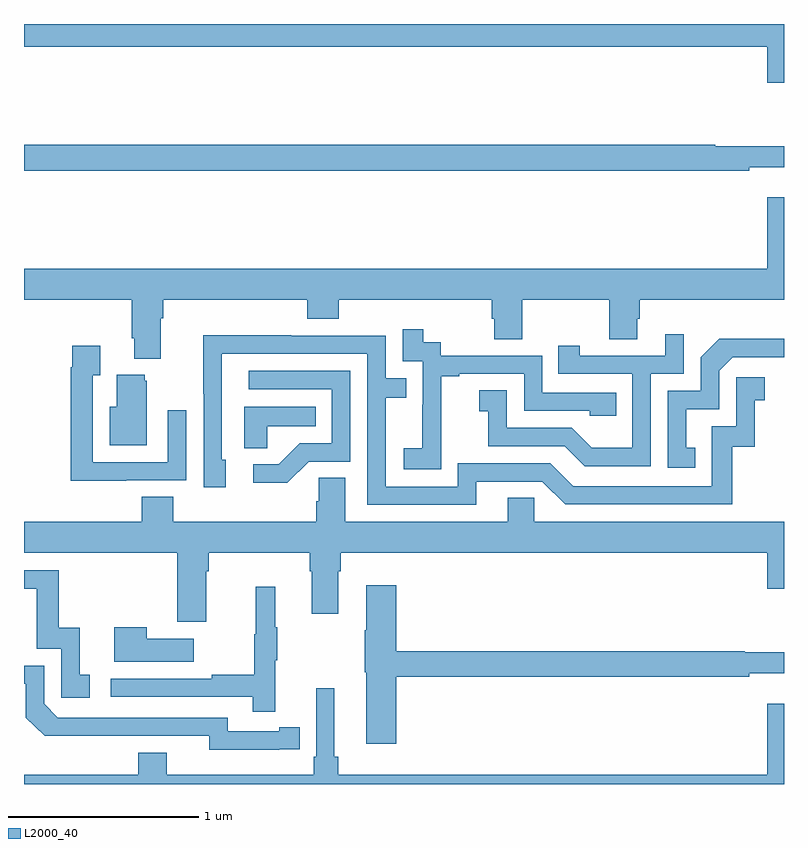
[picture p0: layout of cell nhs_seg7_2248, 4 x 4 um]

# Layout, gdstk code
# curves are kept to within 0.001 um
import gdstk
lib = gdstk.Library(unit=1e-6, precision=1e-09)
def P(c, l, *ps):  # polygons
    for p in ps: c.add(gdstk.Polygon(p, *l))
L2000_40 = (2000, 40)

nhs_seg7_2248 = lib.new_cell('nhs_seg7_2248')
P(nhs_seg7_2248, L2000_40, [(261,1070),(257,1070),(257,1069.88),(260.912,1069.88),(260.912,1069.692),(261,1069.692)],
  [(260.816,1069.247),(261,1069.247),(261,1069.357),(260.638,1069.357),(260.638,1069.364),(257,1069.364),(257,1069.228),(260.816,1069.228)],
  [(257.719,1068.452),(257.732,1068.452),(257.732,1068.548),(258.491,1068.548),(258.491,1068.449),(258.656,1068.449),(258.656,1068.548),(259.463,1068.548),(259.463,1068.45),(259.475,1068.45),(259.475,1068.34),(259.623,1068.34),(259.623,1068.548),(260.08,1068.548),(260.08,1068.34),(260.227,1068.34),(260.227,1068.45),(260.24,1068.45),(260.24,1068.548),(261,1068.548),(261,1069.087),(260.912,1069.087),(260.912,1068.712),(257,1068.712),(257,1068.548),(257.567,1068.548),(257.567,1068.346),(257.579,1068.346),(257.579,1068.239),(257.719,1068.239)],
  [(259.197,1067.863),(259.196,1067.863),(259.196,1068.147),(259.291,1068.147),(259.291,1068.159),(259.632,1068.159),(259.632,1067.964),(259.977,1067.964),(259.977,1067.937),(260.117,1067.937),(260.117,1068.06),(259.728,1068.06),(259.728,1068.255),(259.194,1068.255),(259.194,1068.324),(259.102,1068.324),(259.102,1068.394),(258.993,1068.394),(258.993,1068.225),(259.098,1068.225),(259.098,1067.996),(259.097,1067.996),(259.097,1067.767),(258.999,1067.767),(258.999,1067.657),(259.197,1067.657)],
  [(260.298,1068.159),(260.472,1068.159),(260.472,1068.367),(260.375,1068.367),(260.375,1068.255),(259.924,1068.255),(259.924,1068.307),(259.813,1068.307),(259.813,1068.159),(260.202,1068.159),(260.202,1067.77),(259.988,1067.77),(259.884,1067.874),(259.542,1067.874),(259.542,1068.073),(259.395,1068.073),(259.395,1067.963),(259.444,1067.963),(259.444,1067.778),(259.847,1067.778),(259.952,1067.673),(260.298,1067.673)],
  [(259.381,1067.592),(259.728,1067.592),(259.848,1067.472),(260.728,1067.472),(260.728,1067.775),(260.846,1067.775),(260.846,1068.021),(260.899,1068.021),(260.899,1068.142),(260.748,1068.142),(260.748,1067.883),(260.619,1067.883),(260.619,1067.568),(259.89,1067.568),(259.77,1067.688),(259.284,1067.688),(259.284,1067.565),(258.903,1067.565),(258.903,1068.034),(259.013,1068.034),(259.013,1068.135),(258.903,1068.135),(258.903,1068.36),(258.407,1068.36),(258.407,1068.362),(257.944,1068.362),(257.944,1068.055),(257.946,1068.055),(257.946,1067.562),(258.061,1067.562),(258.061,1067.706),(258.042,1067.706),(258.042,1068.264),(258.807,1068.264),(258.807,1067.469),(259.381,1067.469)],
  [(260.534,1067.769),(260.485,1067.769),(260.485,1067.973),(260.658,1067.973),(260.658,1068.174),(260.73,1068.246),(261,1068.246),(261,1068.344),(260.66,1068.344),(260.562,1068.246),(260.562,1068.069),(260.388,1068.069),(260.388,1067.664),(260.534,1067.664)],
  [(257.537,1067.598),(257.853,1067.598),(257.853,1067.968),(257.757,1067.968),(257.757,1067.694),(257.361,1067.694),(257.361,1068.151),(257.401,1068.151),(257.401,1068.307),(257.253,1068.307),(257.253,1068.194),(257.245,1068.194),(257.245,1067.597),(257.537,1067.597)],
  [(258.498,1067.697),(258.717,1067.697),(258.717,1068.174),(258.183,1068.174),(258.183,1068.078),(258.621,1068.078),(258.621,1067.793),(258.452,1067.793),(258.341,1067.682),(258.207,1067.682),(258.207,1067.585),(258.385,1067.585)],
  [(257.647,1068.123),(257.636,1068.123),(257.636,1068.154),(257.489,1068.154),(257.489,1067.986),(257.45,1067.986),(257.45,1067.783),(257.647,1067.783)],
  [(258.279,1067.882),(258.536,1067.882),(258.536,1067.986),(258.158,1067.986),(258.158,1067.767),(258.279,1067.767)],
  [(257.959,1067.12),(257.972,1067.12),(257.972,1067.216),(258.503,1067.216),(258.503,1067.12),(258.515,1067.12),(258.515,1066.896),(258.655,1066.896),(258.655,1067.12),(258.668,1067.12),(258.668,1067.216),(260.912,1067.216),(260.912,1067.028),(261,1067.028),(261,1067.38),(259.686,1067.38),(259.686,1067.507),(259.547,1067.507),(259.547,1067.38),(258.691,1067.38),(258.691,1067.612),(258.552,1067.612),(258.552,1067.489),(258.539,1067.489),(258.539,1067.38),(257.786,1067.38),(257.786,1067.513),(257.621,1067.513),(257.621,1067.38),(257,1067.38),(257,1067.216),(257.807,1067.216),(257.807,1066.854),(257.959,1066.854)],
  [(257.347,1066.575),(257.294,1066.575),(257.294,1066.822),(257.183,1066.822),(257.183,1067.124),(257,1067.124),(257,1067.028),(257.067,1067.028),(257.067,1066.713),(257.196,1066.713),(257.196,1066.455),(257.347,1066.455)],
  [(258.959,1066.564),(260.816,1066.564),(260.816,1066.583),(261,1066.583),(261,1066.693),(260.794,1066.693),(260.794,1066.7),(258.959,1066.7),(258.959,1067.047),(258.8,1067.047),(258.8,1066.808),(258.793,1066.808),(258.793,1066.587),(258.8,1066.587),(258.8,1066.212),(258.959,1066.212)],
  [(258.323,1066.651),(258.334,1066.651),(258.334,1066.825),(258.323,1066.825),(258.323,1067.038),(258.22,1067.038),(258.22,1066.788),(258.213,1066.788),(258.213,1066.574),(257.989,1066.574),(257.989,1066.554),(257.457,1066.554),(257.457,1066.458),(258.205,1066.458),(258.205,1066.38),(258.323,1066.38)],
  [(257.893,1066.765),(257.645,1066.765),(257.645,1066.825),(257.474,1066.825),(257.474,1066.643),(257.893,1066.643)],
  [(258.344,1066.182),(258.452,1066.182),(258.452,1066.298),(258.344,1066.298),(258.344,1066.278),(258.072,1066.278),(258.072,1066.35),(257.178,1066.35),(257.106,1066.422),(257.106,1066.623),(257,1066.623),(257,1066.527),(257.01,1066.527),(257.01,1066.35),(257.108,1066.253),(257.976,1066.254),(257.976,1066.181)],
  [(261,1066.423),(260.912,1066.423),(260.912,1066.048),(258.653,1066.048),(258.653,1066.144),(258.634,1066.144),(258.634,1066.504),(258.537,1066.504),(258.537,1066.144),(258.524,1066.144),(258.524,1066.048),(257.752,1066.048),(257.752,1066.165),(257.6,1066.165),(257.6,1066.048),(257,1066.048),(257,1066),(261,1066)])

lib.write_gds('nhs_seg7_2248.gds')
